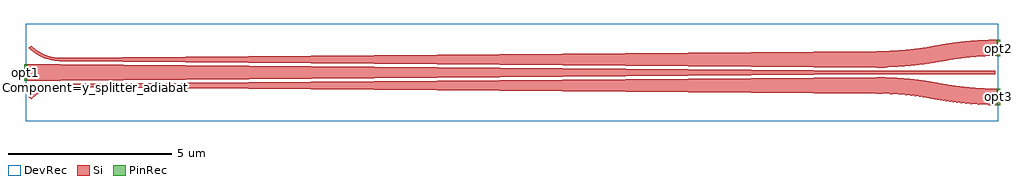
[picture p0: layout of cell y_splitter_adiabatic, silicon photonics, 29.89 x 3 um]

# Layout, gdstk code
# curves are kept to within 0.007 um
import gdstk
lib = gdstk.Library(unit=1e-6, precision=1e-09)
def R(c, l, rs):  # rectangles x0, y0, x1, y1
    for r in rs: c.add(gdstk.rectangle(r[:2], r[2:], *l))
def P(c, l, *ps):  # polygons
    for p in ps: c.add(gdstk.Polygon(p, *l))
Si = (1, 0)
PinRec = (1, 10)
DevRec = (68, 0)

y_splitter_adiabatic = lib.new_cell('y_splitter_adiabatic')
R(y_splitter_adiabatic, Si, [(-0.966,-0.25,0.1,0.25)])
P(y_splitter_adiabatic, Si, [(25.1,0.15),(0.1,0.35),(0.1,0.45),(25.1,0.65)],
  [(28.728,-1),(28.228,-0.983),(27.66,-0.934),(27.152,-0.863),(26.496,-0.75),(26.03,-0.694),(25.593,-0.662),(25.1,-0.65),(25.1,-0.15),(25.606,-0.162),(26.085,-0.197),(26.581,-0.257),(27.368,-0.391),(27.759,-0.442),(28.276,-0.485),(28.825,-0.5),(28.825,-1)],
  [(0.066,0.35),(-0.199,0.383),(-0.423,0.454),(-0.659,0.58),(-0.867,0.751),(-0.796,0.822),(-0.603,0.663),(-0.384,0.546),(-0.147,0.474),(0.101,0.45),(0.101,0.35)],
  [(-0.796,-0.822),(-0.867,-0.751),(-0.714,-0.619),(-0.544,-0.511),(-0.392,-0.442),(-0.232,-0.391),(-0.067,-0.36),(0.101,-0.35),(0.101,-0.45),(-0.147,-0.474),(-0.384,-0.546),(-0.603,-0.663)],
  [(0.1,-0.25),(0.1,0.25),(25.1,0.05),(28.725,0.05),(28.725,-0.05),(25.1,-0.05)],
  [(25.1,0.15),(25.1,0.65),(25.649,0.665),(26.166,0.708),(26.557,0.759),(27.344,0.893),(27.84,0.953),(28.319,0.988),(28.825,1),(28.825,0.5),(28.276,0.485),(27.759,0.442),(27.368,0.391),(26.581,0.257),(26.085,0.197),(25.606,0.162)],
  [(25.1,-0.65),(0.1,-0.45),(0.1,-0.35),(25.1,-0.15)])
R(y_splitter_adiabatic, DevRec, [(-0.966,-1.5,28.825,1.5)])
y_splitter_adiabatic.add(gdstk.FlexPath([(28.775,0.75),(28.875,0.75)], 0.5, ends="flush", simple_path=True, layer=1, datatype=10))  # PinRec
y_splitter_adiabatic.add(gdstk.FlexPath([(28.775,-0.75),(28.875,-0.75)], 0.5, ends="flush", simple_path=True, layer=1, datatype=10))  # PinRec
y_splitter_adiabatic.add(gdstk.FlexPath([(-0.916,0),(-1.016,0)], 0.5, ends="flush", simple_path=True, layer=1, datatype=10))  # PinRec
y_splitter_adiabatic.add(gdstk.Label('opt1', (-0.966,0), layer=1, texttype=10))
y_splitter_adiabatic.add(gdstk.Label('opt2', (28.825,0.75), layer=1, texttype=10))
y_splitter_adiabatic.add(gdstk.Label('opt3', (28.825,-0.75), layer=1, texttype=10))
y_splitter_adiabatic.add(gdstk.Label('Component=y_splitter_adiabatic', (0,-0.45), layer=68, texttype=0))
y_splitter_adiabatic.add(gdstk.Label('Lumerical_INTERCONNECT_library=Design kits/SUNY_DP', (0,-0.65), layer=68, texttype=0))

lib.write_gds('y_splitter_adiabatic.gds')
